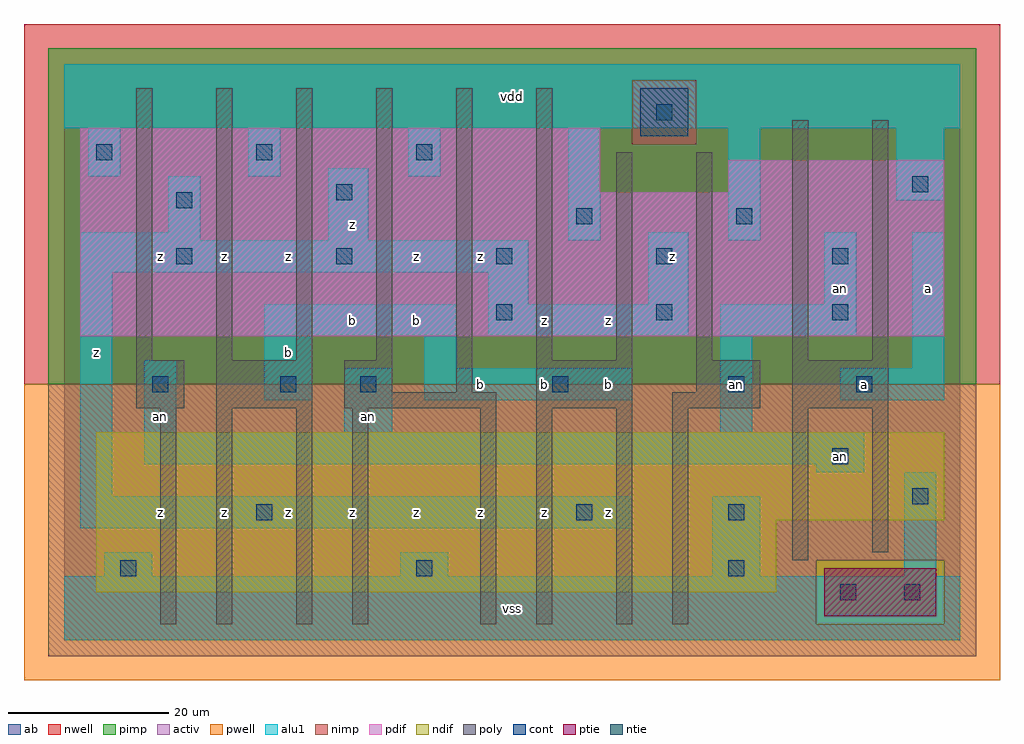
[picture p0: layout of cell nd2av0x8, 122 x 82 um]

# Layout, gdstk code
import gdstk
lib = gdstk.Library(unit=1e-6, precision=1e-09)
def R(c, l, rs):  # rectangles x0, y0, x1, y1
    for r in rs: c.add(gdstk.rectangle(r[:2], r[2:], *l))
def A(c, l, x, y, w, h, nx, ny, dx, dy):  # array of equal rectangles
    R(c, l, [(x+i*dx, y+j*dy, x+i*dx+w, y+j*dy+h) for i in range(nx) for j in range(ny)])
ndif = (3, 0)
pdif = (4, 0)
ntie = (5, 0)
ptie = (6, 0)
cont = (25, 0)
pwell = (41, 0)
nwell = (42, 0)
activ = (43, 0)
pimp = (44, 0)
nimp = (45, 0)
poly = (46, 0)
alu1 = (49, 0)
ab = (63, 0)

nd2av0x8 = lib.new_cell('nd2av0x8')
R(nd2av0x8, ndif, [(4,6,89,15), (4,15,110,26)])
R(nd2av0x8, pdif, [(2,38,110,56), (2,56,67,64), (83,56,110,60)])
R(nd2av0x8, ntie, [(72,63,78,69)])
R(nd2av0x8, ptie, [(95,3,109,9)])
A(nd2av0x8, cont, 14, 47, 2, 2, 4, 1, 20, 0)
A(nd2av0x8, cont, 4, 60, 2, 2, 3, 1, 20, 0)
R(nd2av0x8, cont, [(97,5,99,7), (105,5,107,7), (7,8,9,10), (44,8,46,10), (83,8,85,10), (24,15,26,17), (64,15,66,17), (83,15,85,17), (106,17,108,19), (96,22,98,24), (11,31,13,33), (27,31,29,33), (37,31,39,33), (61,31,63,33), (83,31,85,33), (99,31,101,33), (54,40,56,42), (74,40,76,42), (96,40,98,42), (96,47,98,49), (64,52,66,54), (84,52,86,54), (14,54,16,56), (34,55,36,57), (106,56,108,58), (74,65,76,67)])
R(nd2av0x8, pwell, [(-5,-5,117,32)])
R(nd2av0x8, nwell, [(-5,32,117,77)])
R(nd2av0x8, activ, [(95,3,109,9), (4,6,89,15), (4,15,110,26), (2,38,110,56), (2,56,67,64), (83,56,110,60), (72,63,78,69)])
R(nd2av0x8, pimp, [(94,2,110,10), (-2,32,114,62), (-2,62,71,70), (79,62,114,70), (-2,70,114,74)])
R(nd2av0x8, nimp, [(-2,-2,114,2), (-2,2,94,10), (110,2,114,10), (-2,10,114,32), (71,62,79,70)])
A(nd2av0x8, poly, 9, 35, 2, 34, 4, 1, 10, 0)
R(nd2av0x8, poly, [(12,2,14,29), (19,2,21,29), (29,2,31,29), (36,2,38,29), (52,2,54,29), (59,2,61,29), (69,2,71,29), (76,2,78,29), (91,10,93,29), (101,11,103,29), (9,29,15,35), (19,29,31,35), (35,29,54,31), (59,29,71,35), (76,29,87,31), (91,29,103,35), (35,31,41,35), (49,31,51,69), (79,31,87,35), (59,35,61,69), (69,35,71,61), (79,35,81,61), (91,35,93,65), (101,35,103,65)])
A(nd2av0x8, alu1, 3, 58, 4, 6, 3, 1, 20, 0)
R(nd2av0x8, alu1, [(0,0,112,8), (5,8,11,11), (42,8,48,11), (81,8,87,18), (105,8,109,21), (2,14,71,18), (2,18,6,46), (94,21,100,22), (10,22,100,26), (10,26,14,35), (35,26,41,34), (82,26,86,38), (25,30,31,38), (45,30,71,34), (97,30,110,34), (45,34,49,38), (106,34,110,51), (25,38,49,42), (53,38,78,42), (82,38,99,42), (53,42,58,46), (73,42,78,51), (95,42,99,51), (2,46,58,50), (2,50,17,51), (33,50,38,59), (63,50,67,64), (83,50,87,64), (13,51,17,58), (104,55,110,64), (0,64,112,72)])
R(nd2av0x8, ab, [(0,0,112,72)])
nd2av0x8.add(gdstk.Label('an', (12,28), layer=49, texttype=0))
nd2av0x8.add(gdstk.Label('an', (38,28), layer=49, texttype=0))
nd2av0x8.add(gdstk.Label('an', (97,23), layer=49, texttype=0))
nd2av0x8.add(gdstk.Label('an', (97,44), layer=49, texttype=0))
nd2av0x8.add(gdstk.Label('an', (84,32), layer=49, texttype=0))
nd2av0x8.add(gdstk.Label('z', (12,16), layer=49, texttype=0))
nd2av0x8.add(gdstk.Label('z', (4,36), layer=49, texttype=0))
nd2av0x8.add(gdstk.Label('z', (12,48), layer=49, texttype=0))
nd2av0x8.add(gdstk.Label('z', (28,16), layer=49, texttype=0))
nd2av0x8.add(gdstk.Label('z', (36,16), layer=49, texttype=0))
nd2av0x8.add(gdstk.Label('z', (20,16), layer=49, texttype=0))
nd2av0x8.add(gdstk.Label('b', (36,40), layer=49, texttype=0))
nd2av0x8.add(gdstk.Label('b', (28,36), layer=49, texttype=0))
nd2av0x8.add(gdstk.Label('z', (20,48), layer=49, texttype=0))
nd2av0x8.add(gdstk.Label('z', (36,52), layer=49, texttype=0))
nd2av0x8.add(gdstk.Label('z', (28,48), layer=49, texttype=0))
nd2av0x8.add(gdstk.Label('vss', (56,4), layer=49, texttype=0))
nd2av0x8.add(gdstk.Label('z', (52,16), layer=49, texttype=0))
nd2av0x8.add(gdstk.Label('z', (60,16), layer=49, texttype=0))
nd2av0x8.add(gdstk.Label('z', (44,16), layer=49, texttype=0))
nd2av0x8.add(gdstk.Label('b', (52,32), layer=49, texttype=0))
nd2av0x8.add(gdstk.Label('b', (60,32), layer=49, texttype=0))
nd2av0x8.add(gdstk.Label('b', (44,40), layer=49, texttype=0))
nd2av0x8.add(gdstk.Label('z', (60,40), layer=49, texttype=0))
nd2av0x8.add(gdstk.Label('z', (44,48), layer=49, texttype=0))
nd2av0x8.add(gdstk.Label('z', (52,48), layer=49, texttype=0))
nd2av0x8.add(gdstk.Label('vdd', (56,68), layer=49, texttype=0))
nd2av0x8.add(gdstk.Label('z', (68,16), layer=49, texttype=0))
nd2av0x8.add(gdstk.Label('b', (68,32), layer=49, texttype=0))
nd2av0x8.add(gdstk.Label('z', (68,40), layer=49, texttype=0))
nd2av0x8.add(gdstk.Label('z', (76,48), layer=49, texttype=0))
nd2av0x8.add(gdstk.Label('a', (100,32), layer=49, texttype=0))
nd2av0x8.add(gdstk.Label('a', (108,44), layer=49, texttype=0))

lib.write_gds('nd2av0x8.gds')
